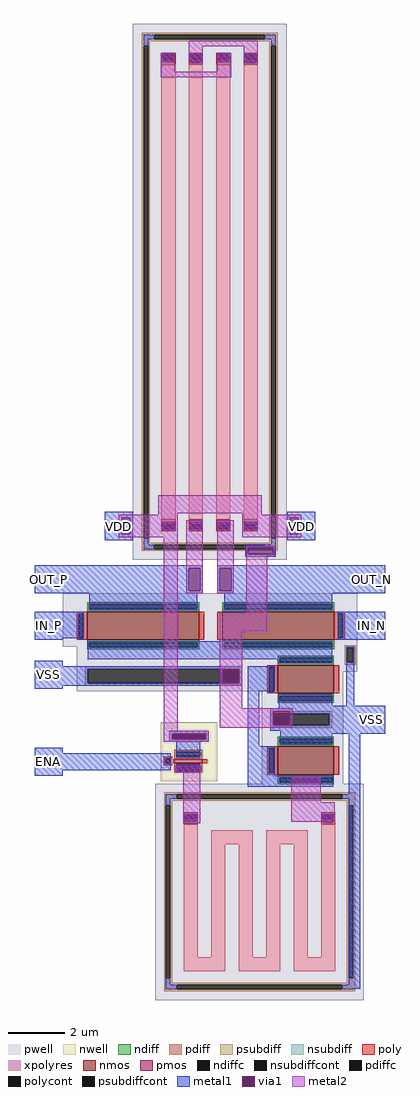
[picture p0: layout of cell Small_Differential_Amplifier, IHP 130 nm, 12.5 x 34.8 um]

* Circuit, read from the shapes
.subckt Small_Differential_Amplifier OUT_N OUT_P VDD VSS IN_P IN_N ENA
XM1 OUT_P IN_P XM_IN_N/D VSS sg13_lv_nmos w=4u l=1u
XM2 OUT_N IN_N XM_IN_N/D VSS sg13_lv_nmos w=4u l=1u
XM3 VSS XM2/D XM2/D VSS sg13_lv_nmos w=2u l=1u
XM4 XM_IN_N/D XM2/D VSS VSS sg13_lv_nmos w=2u l=1u
XM5 VDD ENA XM1/D VDD sg13_lv_pmos w=1u l=0.13u
XR6 rhigh_8LU6HE_0/R1_0 VDD xpolyres w=0.5u l=16.2u
XR7 XM1/D XM2/D xpolyres w=0.5u l=33.04u
XR8 rhigh_8LU6HE_0/R1_1 OUT_P xpolyres w=0.5u l=16.2u
XR9 rhigh_8LU6HE_0/R1_0 OUT_N xpolyres w=0.5u l=16.2u
XR10 rhigh_8LU6HE_0/R1_1 VDD xpolyres w=0.5u l=16.2u
.ends

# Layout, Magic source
magic
tech ihp-sg13g2
magscale 1 2
<< nwell >>
rect 5000 -2740 5400 -2320
<< pwell >>
rect 4300 -1780 6400 -1400
rect 4400 -1960 6400 -1780
rect 4400 -2100 6300 -1960
rect 5720 -2760 6300 -2100
<< psubdiff >>
rect 6310 -1790 6390 -1770
rect 6310 -1890 6330 -1790
rect 6370 -1890 6390 -1790
rect 6310 -1910 6390 -1890
rect 4460 -1940 5580 -1920
rect 4460 -2040 4480 -1940
rect 5560 -2040 5580 -1940
rect 4460 -2060 5580 -2040
rect 5780 -2260 6220 -2240
rect 5780 -2340 5800 -2260
rect 6200 -2340 6220 -2260
rect 5780 -2360 6220 -2340
<< nsubdiff >>
rect 5060 -2400 5340 -2380
rect 5060 -2440 5080 -2400
rect 5320 -2440 5340 -2400
rect 5060 -2460 5340 -2440
<< psubdiffcont >>
rect 6330 -1890 6370 -1790
rect 4480 -2040 5560 -1940
rect 5800 -2340 6200 -2260
<< nsubdiffcont >>
rect 5080 -2440 5320 -2400
<< metal1 >>
rect 4600 -860 4800 -820
rect 4600 -980 4720 -860
rect 4780 -980 4800 -860
rect 4600 -1020 4800 -980
rect 5900 -860 6100 -820
rect 5900 -980 5920 -860
rect 5980 -980 6100 -860
rect 5900 -1020 6100 -980
rect 5600 -1070 5820 -1050
rect 5600 -1120 5620 -1070
rect 5800 -1120 5820 -1070
rect 5600 -1140 5820 -1120
rect 4100 -1220 5300 -1200
rect 4100 -1380 5200 -1220
rect 5280 -1380 5300 -1220
rect 4100 -1400 5300 -1380
rect 5400 -1220 6600 -1200
rect 5400 -1380 5420 -1220
rect 5500 -1380 6600 -1220
rect 5400 -1400 6600 -1380
rect 4490 -1520 5260 -1400
rect 5450 -1520 6220 -1400
rect 4100 -1720 4450 -1530
rect 4100 -1730 4300 -1720
rect 6260 -1730 6600 -1530
rect 4480 -1870 6220 -1740
rect 5830 -1880 6220 -1870
rect 4100 -1920 4300 -1880
rect 5840 -1900 6220 -1880
rect 6320 -1790 6380 -1780
rect 6320 -1890 6330 -1790
rect 6370 -1890 6380 -1790
rect 4100 -1940 5580 -1920
rect 4100 -2040 4480 -1940
rect 5560 -2040 5580 -1940
rect 4100 -2060 5580 -2040
rect 4100 -2080 4300 -2060
rect 5620 -2100 5810 -1920
rect 5060 -2400 5340 -2380
rect 5060 -2440 5080 -2400
rect 5320 -2440 5340 -2400
rect 5060 -2460 5340 -2440
rect 4100 -2540 4300 -2500
rect 4100 -2660 5070 -2540
rect 5110 -2570 5280 -2460
rect 5620 -2490 5700 -2100
rect 5840 -2200 6220 -2120
rect 6320 -2200 6380 -1890
rect 5840 -2220 6600 -2200
rect 5780 -2240 6600 -2220
rect 5780 -2340 5800 -2240
rect 5920 -2260 6600 -2240
rect 6200 -2340 6600 -2260
rect 5780 -2380 6600 -2340
rect 5850 -2400 6600 -2380
rect 5850 -2480 6220 -2400
rect 4100 -2700 4300 -2660
rect 5620 -2700 5810 -2490
rect 5620 -2780 6230 -2700
rect 6340 -4220 6420 -2400
<< via1 >>
rect 4720 -980 4780 -860
rect 5920 -980 5980 -860
rect 5620 -1120 5800 -1070
rect 5200 -1380 5280 -1220
rect 5420 -1380 5500 -1220
rect 5440 -2040 5560 -1940
rect 5080 -2440 5320 -2400
rect 5800 -2260 5920 -2240
rect 5800 -2340 5920 -2260
<< metal2 >>
rect 5200 2500 5690 2540
rect 5000 2320 5100 2450
rect 5200 2390 5300 2500
rect 5400 2320 5500 2450
rect 5590 2390 5690 2500
rect 5000 2280 5500 2320
rect 4980 -830 5720 -700
rect 4980 -840 5120 -830
rect 4700 -860 5120 -840
rect 4700 -980 4720 -860
rect 4780 -980 5120 -860
rect 5580 -840 5720 -830
rect 5580 -860 6000 -840
rect 4700 -1000 5120 -980
rect 5020 -2380 5120 -1000
rect 5180 -1220 5300 -880
rect 5180 -1380 5200 -1220
rect 5280 -1380 5300 -1220
rect 5180 -1400 5300 -1380
rect 5400 -1220 5520 -880
rect 5580 -980 5920 -860
rect 5980 -980 6000 -860
rect 5580 -1000 6000 -980
rect 5400 -1380 5420 -1220
rect 5500 -1380 5520 -1220
rect 5400 -1400 5520 -1380
rect 5610 -1070 5810 -1060
rect 5610 -1120 5620 -1070
rect 5800 -1120 5810 -1070
rect 5610 -1130 5810 -1120
rect 5610 -1540 5760 -1130
rect 5420 -1670 5760 -1540
rect 5420 -1940 5580 -1670
rect 5420 -2040 5440 -1940
rect 5560 -2040 5580 -1940
rect 5420 -2220 5580 -2040
rect 5420 -2240 5940 -2220
rect 5420 -2340 5800 -2240
rect 5920 -2340 5940 -2240
rect 5420 -2360 5940 -2340
rect 5020 -2400 5340 -2380
rect 5020 -2440 5080 -2400
rect 5320 -2440 5340 -2400
rect 5020 -2460 5340 -2440
rect 5110 -2680 5280 -2630
rect 5160 -3040 5280 -2680
rect 5930 -2890 6140 -2710
rect 5930 -3030 6240 -2890
use rhigh_8LU6HE  rhigh_8LU6HE_0
transform 1 0 5348 0 1 750
box -548 -1910 548 1910
use sg13_lv_pmos_LRF4C6  XM1
transform 0 -1 5175 1 0 -2597
box -143 -181 143 155
use sg13_lv_nmos_VZXFK7  XM2
transform 0 -1 6015 1 0 -2592
box -168 -255 168 255
use sg13_lv_nmos_CB58VR  XM_IN_N
transform 0 -1 4855 1 0 -1632
box -168 -455 168 455
use sg13_lv_nmos_CB58VR  XM_IN_P
transform 0 1 5855 -1 0 -1632
box -168 -455 168 455
use sg13_lv_nmos_WVR6VR  XM_TAIL
transform 0 -1 6015 1 0 -2012
box -168 -255 168 255
use rhigh_YXURBG  XR1
transform -1 0 5704 0 -1 -3529
box -744 -771 744 771
<< labels >>
flabel metal1 4100 -2700 4300 -2500 0 FreeSans 256 0 0 0 ENA
port 6 nsew
flabel metal1 6400 -1400 6600 -1200 0 FreeSans 256 0 0 0 OUT_N
port 0 nsew
flabel metal1 4100 -1400 4300 -1200 0 FreeSans 256 0 0 0 OUT_P
port 1 nsew
flabel metal1 6400 -2400 6600 -2200 0 FreeSans 256 0 0 0 VSS
port 3 nsew
flabel metal1 4100 -2080 4300 -1880 0 FreeSans 256 0 0 0 VSS
port 3 nsew
flabel metal1 4100 -1730 4300 -1530 0 FreeSans 256 0 0 0 IN_P
port 4 nsew
flabel metal1 6400 -1730 6600 -1530 0 FreeSans 256 0 0 0 IN_N
port 5 nsew
flabel metal1 5900 -1020 6100 -820 0 FreeSans 256 0 0 0 VDD
port 2 nsew
flabel metal1 4600 -1020 4800 -820 0 FreeSans 256 0 0 0 VDD
port 2 nsew
<< end >>

# cell rhigh_8LU6HE: kit device rhigh, w 0.50 l 16.2 m 1 nx 4 wmin 0.50 lmin 0.50 class resistor rho 1360 val 44.064k dummy 0 dw 0.0 term 0.0 sterm 0.0 caplen 0 guard 1 glc 1 grc 1 gtc 1 gbc 1 snake 0 full_metal 1 n_guard 0 hv_guard 0 vias 1 viagb 0 viagt 0 viagl 0 viagr 0 doports 1

# cell sg13_lv_pmos_LRF4C6: kit device sg13_lv_pmos, w 1 l 0.13 m 1 nf 1 diffcov 100 polycov 100 guard 0 glc 1 grc 1 gtc 1 gbc 1 tbcov 100 rlcov 100 topc 1 botc 0 poverlap 0 doverlap 1 lmin 0.13 wmin 0.15 class mosfet compatible {sg13_lv_pmos sg13_hv_pmos} full_metal 1 conn_gates 0 gate_ring 0 ccols 1 viasrc 0 viadrn 100 viagate 0 viagb 0 viagr 0 viagl 0 viagt 0 doports 1

# cell sg13_lv_nmos_VZXFK7: kit device sg13_lv_nmos, w 2 l 1 m 1 nf 1 diffcov 100 polycov 100 guard 0 glc 1 grc 1 gtc 1 gbc 1 tbcov 100 rlcov 100 topc 1 botc 0 poverlap 0 doverlap 1 lmin 0.13 wmin 0.15 class mosfet compatible {sg13_lv_nmos sg13_hv_nmos} full_metal 1 conn_gates 0 gate_ring 0 doports 1 viasrc 0 viadrn 50 viagate 0 ccols 1 viagb 0 viagr 0 viagl 0 viagt 0

# cell sg13_lv_nmos_CB58VR: kit device sg13_lv_nmos, w 4 l 1 m 1 nf 1 diffcov 100 polycov 100 guard 0 glc 1 grc 1 gtc 1 gbc 1 tbcov 100 rlcov 100 topc 1 botc 0 poverlap 0 doverlap 1 lmin 0.13 wmin 0.15 class mosfet compatible {sg13_lv_nmos sg13_hv_nmos} full_metal 1 conn_gates 0 gate_ring 0 doports 1 viasrc 0 viadrn 0 viagate 0 ccols 1 viagb 0 viagr 0 viagl 0 viagt 0

# cell sg13_lv_nmos_WVR6VR: kit device sg13_lv_nmos, w 2 l 1 m 1 nf 1 diffcov 100 polycov 100 guard 0 glc 1 grc 1 gtc 1 gbc 1 tbcov 100 rlcov 100 topc 1 botc 0 poverlap 0 doverlap 1 lmin 0.13 wmin 0.15 class mosfet compatible {sg13_lv_nmos sg13_hv_nmos} full_metal 1 conn_gates 0 gate_ring 0 doports 1 viasrc 0 viadrn 0 viagate 0 ccols 1 viagb 0 viagr 0 viagl 0 viagt 0

# cell rhigh_YXURBG: kit device rhigh, w 0.50 l 5.04 m 1 nx 6 wmin 0.50 lmin 0.50 class resistor rho 1360 val 89.052k dummy 0 dw 0.0 term 0.0 sterm 0.0 caplen 0 guard 1 glc 1 grc 1 gtc 1 gbc 1 snake 1 full_metal 1 n_guard 0 hv_guard 0 vias 1 viagb 0 viagt 0 viagl 0 viagr 0 doports 1
